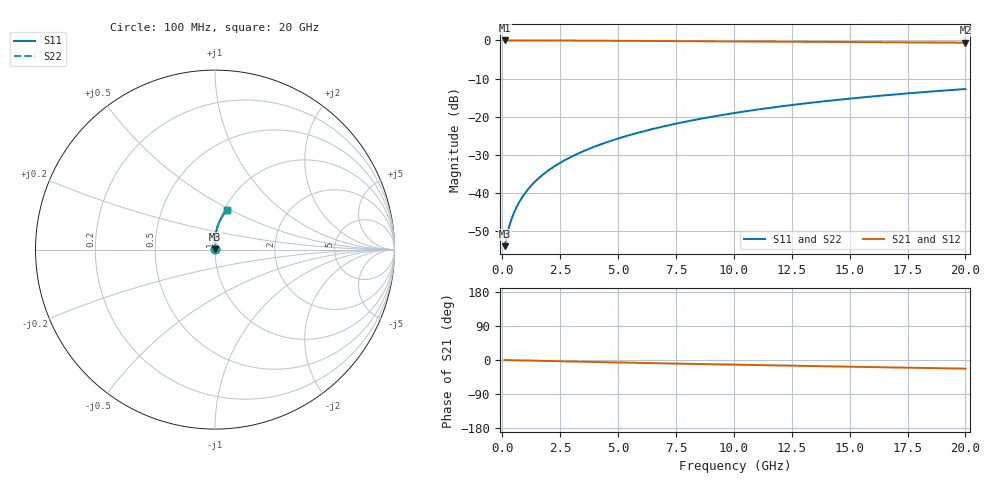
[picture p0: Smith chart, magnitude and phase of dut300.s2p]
! Touchstone file exported from HFSS 2024.1.0
!  File:  C:/UserFiles/LocalFiles/RDL_TSV_Batchsim/temp_RDL_bottom_300_1779610169.aedt
!  Generated:  04:12:06 PM May 24, 2026
!  Design:  RDL_bottom
!  Project:  temp_RDL_bottom_300_1779610169
!  Setup:  Setup1
!  Solution:  Sweep
! Variables:
!  dtsv = 10.80580581um
!  hbump = 3um
!  htsv = 75.57um
!  ldown = 298.42um
!  lrdl = 100um
!  p = 40
!  p1 = 50.48um
!  rhole = 1um
!  t = 450um
!  tdown = 3.07um
!  trdl = 3.915915916um
!  wdown = 24.23um
!  wrdl = 20um
# GHz S MA R 50.000000
! Terminal data exported
! Port[1] = RDL1_T1
! Port[2] = RDL1_T2
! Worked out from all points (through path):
!   200 points, 100 MHz to 20 GHz, reference 50 ohm
!   highest |S21| = -0.01 dB at 100 MHz (marker M1); lowest = -0.6 dB at 20 GHz (marker M2)
!   group delay of S21, straight-line fit = 3.14 ps
!   lowest |S11| = -53.9 dB at 100 MHz (marker M3), VSWR 1.00, Z = 50.2 + j0.11 ohm
!   |S11| at or under -10 dB: start of sweep to end of sweep
!   |S22| runs from -53.9 to -12.7 dB; largest |S21 - S12| = 3.1e-15
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0.1  0.002008 32.9  0.9983 -0.1  0.9983 -0.1  0.002008 32.9
! Gamma 0 0 0 0
! Port Impedance 50 0 50 0
0.2  0.002774 50.8  0.9982 -0.3  0.9982 -0.3  0.002774 50.8
0.3  0.003655 59.9  0.9981 -0.4  0.9981 -0.4  0.003655 59.9
0.4  0.004561 65.4  0.998 -0.6  0.998 -0.6  0.004561 65.4
0.5  0.005472 69.2  0.9979 -0.7  0.9979 -0.7  0.005472 69.2
0.6  0.006389 72.0  0.9978 -0.8  0.9978 -0.8  0.006389 72.0
0.8  0.008242 75.9  0.9976 -1.1  0.9976 -1.1  0.008242 75.9
1.1  0.01107 79.6  0.9973 -1.5  0.9973 -1.5  0.01107 79.6
1.3  0.01299 81.3  0.9971 -1.7  0.9971 -1.7  0.01299 81.3
1.6  0.0159 83.2  0.9967 -2.1  0.9967 -2.1  0.0159 83.2
2.1  0.02084 85.2  0.9958 -2.8  0.9958 -2.8  0.02084 85.2
2.7  0.02692 86.7  0.9946 -3.6  0.9946 -3.6  0.02693 86.7
3.5  0.03529 87.9  0.9927 -4.6  0.9927 -4.6  0.03529 87.9
4.2  0.04285 88.4  0.9906 -5.5  0.9906 -5.5  0.04285 88.4
5  0.05175 88.6  0.9881 -6.5  0.9881 -6.5  0.05175 88.6
6.8  0.07264 88.1  0.9819 -8.7  0.9819 -8.7  0.07264 88.1
8.4  0.0919 86.9  0.976 -10.5  0.976 -10.5  0.09191 86.9
10.1  0.1127 85.2  0.9697 -12.4  0.9697 -12.4  0.1127 85.2
11.7  0.1324 83.4  0.9638 -14.2  0.9638 -14.2  0.1324 83.5
13.4  0.1532 81.4  0.9576 -16.0  0.9576 -16.0  0.1532 81.4
16.7  0.1926 77.4  0.9456 -19.5  0.9456 -19.5  0.1927 77.5
20  0.2305 73.5  0.9335 -22.9  0.9335 -22.9  0.2306 73.5
